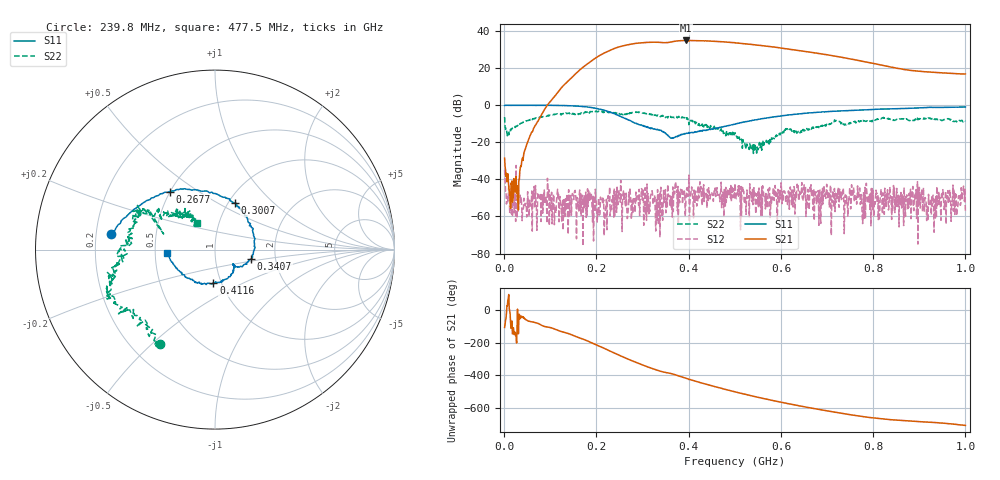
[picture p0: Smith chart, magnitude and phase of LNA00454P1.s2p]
! Created with skrf 1.9.0 (http://scikit-rf.org).
# Hz S RI R 50.0
!freq ReS11 ImS11 ReS21 ImS21 ReS12 ImS12 ReS22 ImS22
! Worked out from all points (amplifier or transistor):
!   1001 points, 1 MHz to 1 GHz, reference 50 ohm
!   highest |S21| = 35.0 dB at 394.6 MHz (marker M1)
!   |S21| within 3 dB of that: 256.3 MHz to 566.1 MHz (309.7 MHz wide, 75.3 % of centre)
!   unconditionally stable (mu >= 1): 253 MHz to 309.6 MHz; 309.8 MHz to 371.5 MHz; 371.7 MHz to end of sweep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
!   at 166.8 MHz: K = 4.04, MAG = 30.8 dB, |S12| = -59.9 dB
!   at 500.5 MHz: K = 1.32, MAG = 34.6 dB, |S12| = -42.2 dB
!   at 1 GHz: K = 8.73, MAG = 25.0 dB, |S12| = -57.9 dB
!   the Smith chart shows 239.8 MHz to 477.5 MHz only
!   S11 on the Smith chart (normalised r, x): 239.8 MHz: 0.26, +0.07; 267.7 MHz: 0.50, +0.39; 300.7 MHz: 1.07, +0.60; 340.7 MHz: 1.49, -0.17; 411.6 MHz: 0.92, -0.35; 477.5 MHz: 0.58, -0.02
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1000000  0.9837 0.00154  -0.0112 -0.0356  -0.0135 0.0119  0.3385 0.3433
1.09891e8  0.5203 -0.8489  -0.8242 -1.572  -0.000909 -0.00083  0.448 -0.3537
1.67833e8  -0.2135 -0.9084  -9.893 -0.8154  0.000507 0.00263  0.0519 -0.6192
2.08792e8  -0.6519 -0.4203  -16.2 15.98  0.000436 -0.00329  -0.1893 -0.6453
2.39761e8  -0.5779 0.0841  -3.181 34.37  -0.000873 -0.000616  -0.3079 -0.5248
2.67733e8  -0.2527 0.3232  20.86 37.43  -0.000675 -0.00061  -0.4739 -0.3372
3.007e8  0.1104 0.2588  44.88 19.35  0.000539 0.00352  -0.5877 -0.1711
3.18682e8  0.2015 0.1318  50.31 4.377  -0.00398 0.000644  -0.5667 -0.1119
3.34666e8  0.2156 -0.0082  49.19 -9.281  -0.000266 0.000521  -0.5365 -0.0384
3.4066e8  0.2008 -0.0533  47.7 -13.38  -0.00178 0.00301  -0.5038 -0.00531
3.71629e8  0.1101 -0.0891  43.18 -32.1  -0.00542 0.00676  -0.4418 0.1702
3.94606e8  0.0724 -0.1588  29.95 -47.5  -0.00183 0.00332  -0.4013 0.2055
4.11589e8  -0.00875 -0.1849  17.24 -52.99  0.00492 0.00166  -0.2964 0.1725
4.41559e8  -0.1469 -0.1602  -6.137 -54.27  0.00228 0.0041  -0.1828 0.1739
4.77523e8  -0.2683 -0.0179  -28.2 -42.91  0.0051 0.00161  -0.101 0.1476
5.005e8  -0.2917 0.1019  -37.41 -31.39  -0.00556 0.00544  -0.0954 0.1549
5.4046e8  -0.2343 0.3178  -41.97 -10.02  0.0001 -0.00219  -0.0477 0.0154
5.88412e8  -0.0424 0.4926  -35.29 10.41  0.00283 -0.00432  -0.1235 -0.0671
6.67333e8  0.3314 0.5351  -13.36 22.88  0.00212 -0.00287  -0.2405 -0.0266
7.51249e8  0.6251 0.3697  2.952 17.57  -0.00139 -0.000794  -0.3304 0.0858
8.34166e8  0.7843 0.1431  6.868 8.645  0.000454 -0.00169  -0.3725 0.1984
1e9  0.8091 -0.398  6.76 1.858  0.00118 0.000462  -0.0137 0.3774
